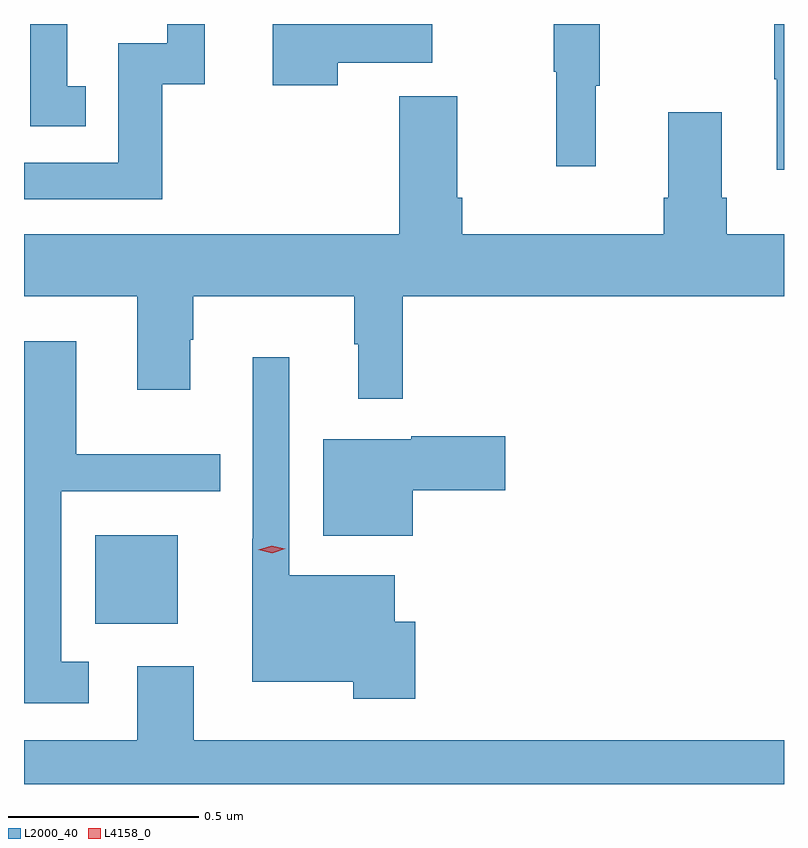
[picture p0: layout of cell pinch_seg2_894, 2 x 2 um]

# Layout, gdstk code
import gdstk
lib = gdstk.Library(unit=1e-6, precision=1e-09)
def R(c, l, rs):  # rectangles x0, y0, x1, y1
    for r in rs: c.add(gdstk.rectangle(r[:2], r[2:], *l))
def P(c, l, *ps):  # polygons
    for p in ps: c.add(gdstk.Polygon(p, *l))
L2000_40 = (2000, 40)
L4158_0 = (4158, 0)

pinch_seg2_894 = lib.new_cell('pinch_seg2_894')
R(pinch_seg2_894, L2000_40, [(556.262,592.163,556.48,592.396)])
P(pinch_seg2_894, L2000_40, [(556.238,593.577),(556.189,593.577),(556.189,593.741),(556.092,593.741),(556.092,593.472),(556.238,593.472)],
  [(558.075,593.741),(558.049,593.741),(558.049,593.596),(558.056,593.596),(558.056,593.358),(558.075,593.358)],
  [(556.439,593.583),(556.55,593.583),(556.55,593.741),(556.452,593.741),(556.452,593.691),(556.323,593.691),(556.323,593.376),(556.075,593.376),(556.075,593.28),(556.439,593.28)],
  [(556.901,593.639),(557.149,593.639),(557.149,593.741),(556.73,593.741),(556.73,593.58),(556.901,593.58)],
  [(557.579,593.579),(557.59,593.579),(557.59,593.741),(557.469,593.741),(557.469,593.616),(557.476,593.616),(557.476,593.367),(557.579,593.367)],
  [(557.911,593.284),(557.911,593.509),(557.771,593.509),(557.771,593.284),(557.759,593.284),(557.759,593.188),(557.228,593.188),(557.228,593.284),(557.215,593.284),(557.215,593.551),(557.063,593.551),(557.063,593.188),(556.075,593.188),(556.075,593.024),(556.373,593.024),(556.373,592.779),(556.513,592.779),(556.513,592.91),(556.521,592.91),(556.521,593.024),(556.944,593.024),(556.944,592.898),(556.955,592.898),(556.955,592.755),(557.072,592.755),(557.072,593.024),(558.075,593.024),(558.075,593.188),(557.924,593.188),(557.924,593.284)],
  [(556.246,592.063),(556.173,592.063),(556.173,592.512),(556.592,592.512),(556.592,592.609),(556.213,592.609),(556.213,592.906),(556.075,592.906),(556.075,591.954),(556.246,591.954)],
  [(557.105,592.168),(557.05,592.168),(557.05,592.291),(556.773,592.291),(556.773,592.864),(556.677,592.864),(556.677,592.387),(556.676,592.387),(556.676,592.01),(556.941,592.01),(556.941,591.965),(557.105,591.965)],
  [(557.098,592.514),(557.341,592.514),(557.341,592.656),(557.094,592.656),(557.094,592.648),(556.862,592.648),(556.862,592.394),(557.098,592.394)],
  [(558.075,591.856),(556.522,591.856),(556.522,592.051),(556.373,592.051),(556.373,591.856),(556.075,591.856),(556.075,591.741),(558.075,591.741)])
P(pinch_seg2_894, L4158_0, [(556.728,592.348),(556.691,592.357),(556.691,592.357),(556.691,592.357),(556.727,592.368),(556.763,592.36),(556.763,592.36),(556.763,592.36)])

lib.write_gds('pinch_seg2_894.gds')
